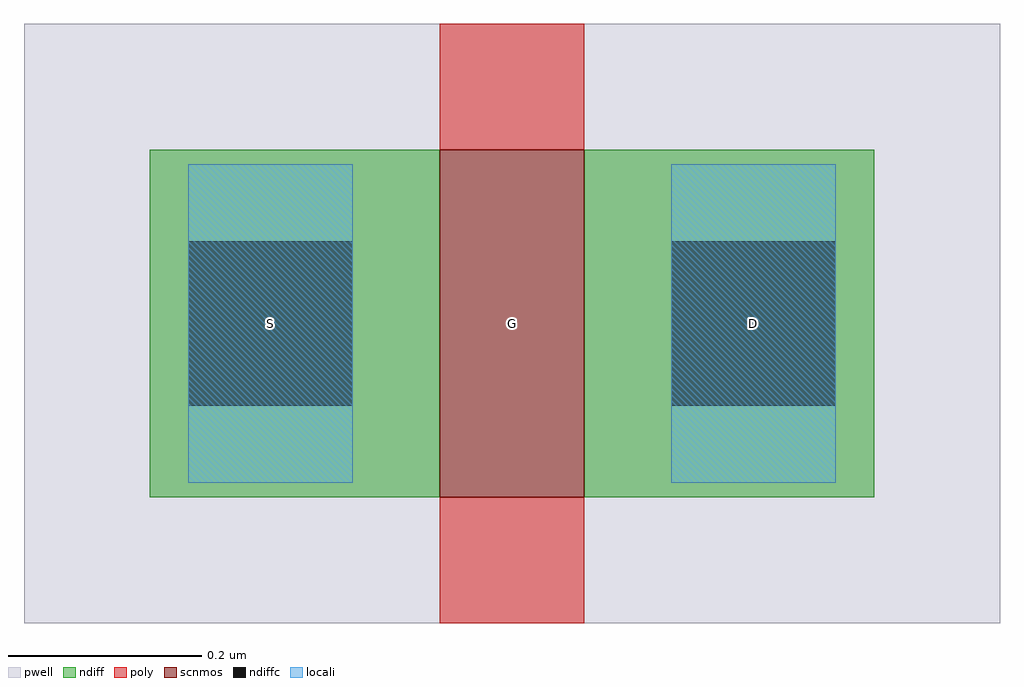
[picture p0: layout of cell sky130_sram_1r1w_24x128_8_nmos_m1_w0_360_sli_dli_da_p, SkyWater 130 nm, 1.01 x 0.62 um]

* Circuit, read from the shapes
.subckt sky130_sram_1r1w_24x128_8_nmos_m1_w0_360_sli_dli_da_p G S D
XM1 D G S VSUBS sky130_fd_pr__nfet_01v8 w=0.36 l=0.15
.ends

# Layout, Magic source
magic
tech sky130B
magscale 1 2
<< pwell >>
rect -26 -26 176 98
<< scnmos >>
rect 60 0 90 72
<< ndiff >>
rect 0 0 60 72
rect 90 0 150 72
<< poly >>
rect 60 72 90 98
rect 60 -26 90 0
<< locali >>
rect 8 3 42 69
rect 108 3 142 69
use sky130_sram_1r1w_24x128_8_contact_10  sky130_sram_1r1w_24x128_8_contact_10_0
transform 1 0 100 0 1 3
box -26 -22 76 88
use sky130_sram_1r1w_24x128_8_contact_10  sky130_sram_1r1w_24x128_8_contact_10_1
transform 1 0 0 0 1 3
box -26 -22 76 88
<< labels >>
rlabel poly s 75 36 75 36 4 G
port 1 nsew
rlabel locali s 25 36 25 36 4 S
port 2 nsew
rlabel locali s 125 36 125 36 4 D
port 3 nsew
<< properties >>
string FIXED_BBOX -25 -26 175 98
<< end >>

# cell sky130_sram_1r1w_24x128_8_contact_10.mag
magic
tech sky130B
<< pwell >>
rect -13 -11 38 44
<< ndiff >>
rect 0 25 25 31
rect 0 8 4 25
rect 21 8 25 25
rect 0 2 25 8
<< ndiffc >>
rect 4 8 21 25
<< locali >>
rect 4 25 21 33
rect 4 0 21 8
<< properties >>
string FIXED_BBOX -12 -10 37 43
<< end >>
